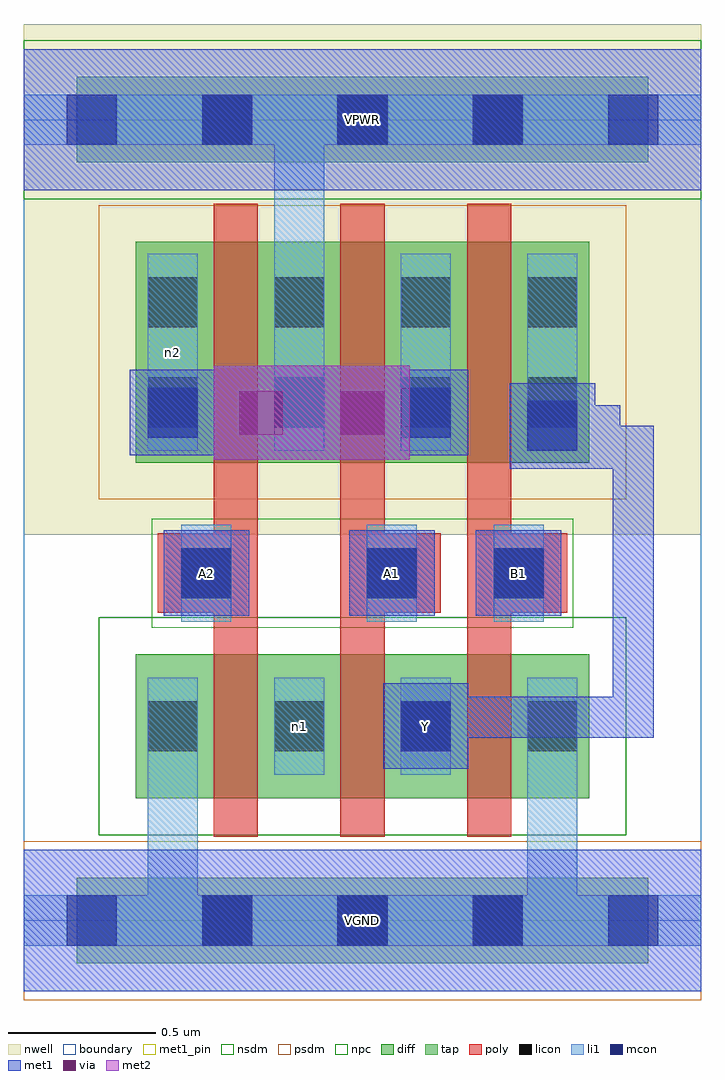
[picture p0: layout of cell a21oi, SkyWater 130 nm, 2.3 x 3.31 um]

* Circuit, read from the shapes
.subckt a21oi A1 A2 B1 VGND VPWR Y n1 n2
XM1 n1 A2 VGND VGND sky130_fd_pr__nfet_01v8 w=0.49 l=0.15
XM2 Y A1 n1 VGND sky130_fd_pr__nfet_01v8 w=0.49 l=0.15
XM3 VGND B1 Y VGND sky130_fd_pr__nfet_01v8 w=0.49 l=0.15
XM4 VPWR A2 n2 VPWR sky130_fd_pr__pfet_01v8 w=0.75 l=0.15
XM5 n2 A1 VPWR VPWR sky130_fd_pr__pfet_01v8 w=0.75 l=0.15
XM6 Y B1 n2 VPWR sky130_fd_pr__pfet_01v8 w=0.75 l=0.15
.ends

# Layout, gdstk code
import gdstk
lib = gdstk.Library(unit=1e-6, precision=1e-09)
def R(c, l, rs):  # rectangles x0, y0, x1, y1
    for r in rs: c.add(gdstk.rectangle(r[:2], r[2:], *l))
def A(c, l, x, y, w, h, nx, ny, dx, dy):  # array of equal rectangles
    R(c, l, [(x+i*dx, y+j*dy, x+i*dx+w, y+j*dy+h) for i in range(nx) for j in range(ny)])
nwell = (64, 20)
diff = (65, 20)
tap = (65, 44)
poly = (66, 20)
licon = (66, 44)
li1 = (67, 20)
mcon = (67, 44)
met1_pin = (68, 16)
met1 = (68, 20)
via = (68, 44)
met2 = (69, 20)
nsdm = (93, 44)
psdm = (94, 20)
npc = (95, 20)
boundary = (235, 4)

a21oi = lib.new_cell('a21oi')
R(a21oi, nwell, [(0,1.31,2.3,3.045)])
R(a21oi, diff, [(0.38,0.415,1.92,0.905), (0.38,1.555,1.92,2.305)])
R(a21oi, tap, [(0.18,-0.145,2.12,0.145), (0.18,2.575,2.12,2.865)])
A(a21oi, poly, 0.645, 0.285, 0.15, 2.15, 3, 1, 0.43, 0)
R(a21oi, poly, [(0.455,1.045,0.785,1.315), (1.085,1.045,1.415,1.315), (1.515,1.045,1.845,1.315)])
A(a21oi, licon, 0.605, -0.085, 0.17, 0.17, 3, 2, 0.46, 2.72)
A(a21oi, licon, 0.42, 0.575, 0.17, 0.17, 4, 2, 0.43, 1.1)
A(a21oi, licon, 0.42, 2.015, 0.17, 0.17, 4, 1, 0.43, 0)
R(a21oi, licon, [(0.535,1.095,0.705,1.265), (1.165,1.095,1.335,1.265), (1.595,1.095,1.765,1.265)])
A(a21oi, li1, 0.42, 0.495, 0.17, 0.33, 4, 1, 0.43, 0)
A(a21oi, li1, 0.42, 1.595, 0.17, 0.67, 4, 1, 0.43, 0)
R(a21oi, li1, [(0,-0.085,2.3,0.085), (0.42,-0.085,0.59,0.825), (1.71,-0.085,1.88,0.825), (0.535,1.015,0.705,1.345), (1.165,1.015,1.335,1.345), (1.595,1.015,1.765,1.345), (0.85,1.595,1.02,2.805), (0,2.635,2.3,2.805)])
A(a21oi, mcon, 0.145, -0.085, 0.17, 0.17, 5, 2, 0.46, 2.72)
R(a21oi, mcon, [(1.28,0.575,1.45,0.745), (0.535,1.095,0.705,1.265), (1.165,1.095,1.335,1.265), (1.595,1.095,1.765,1.265), (1.71,1.595,1.88,1.765), (0.42,1.64,0.59,1.81), (1.28,1.64,1.45,1.81)])
R(a21oi, met1_pin, [(0,-0.24,2.3,0.24), (1.22,0.515,1.51,0.805), (0.475,1.035,0.765,1.325), (1.105,1.035,1.395,1.325), (1.535,1.035,1.825,1.325), (0,2.48,2.3,2.96)])
R(a21oi, met1, [(0,-0.24,2.3,0.24), (1.22,0.515,1.51,0.805), (1.31,0.62,1.45,0.76), (1.31,0.62,2.14,0.76), (2,0.62,2.14,1.68), (0.475,1.035,0.765,1.325), (1.105,1.035,1.395,1.325), (1.535,1.035,1.825,1.325), (1.65,1.535,1.94,1.825), (1.94,1.535,2,1.68), (1.885,1.54,2.14,1.68), (1.885,1.54,2.025,1.75), (0.645,1.565,0.965,1.885), (0.965,1.565,0.99,1.885), (0.99,1.565,1.31,1.885), (0.36,1.58,0.65,1.87), (1.22,1.58,1.51,1.87), (1.725,1.61,2.025,1.75), (0.435,1.655,0.76,1.795), (0.62,1.655,0.875,1.795), (0.875,1.655,0.99,1.795), (0.965,1.655,1.08,1.795), (1.08,1.655,1.335,1.795), (1.195,1.655,1.435,1.795), (0,2.48,2.3,2.96)])
R(a21oi, via, [(0.73,1.65,0.88,1.8), (1.075,1.65,1.225,1.8)])
R(a21oi, met2, [(0.645,1.565,0.965,1.885), (0.965,1.565,0.99,1.885), (0.99,1.565,1.31,1.885), (0.735,1.655,1.22,1.795)])
R(a21oi, nsdm, [(0.255,0.29,2.045,1.03), (0,2.45,2.3,2.99)])
R(a21oi, psdm, [(0,-0.27,2.3,0.27), (0.255,1.43,2.045,2.43)])
R(a21oi, npc, [(0.435,0.995,1.865,1.365)])
R(a21oi, boundary, [(0,0,2.3,2.72)])
a21oi.add(gdstk.Label('n1', (0.935,0.66), layer=67, texttype=5))
a21oi.add(gdstk.Label('n2', (0.505,1.93), layer=67, texttype=5))
a21oi.add(gdstk.Label('A2', (0.62,1.18), layer=68, texttype=5))
a21oi.add(gdstk.Label('A1', (1.25,1.18), layer=68, texttype=5))
a21oi.add(gdstk.Label('B1', (1.68,1.18), layer=68, texttype=5))
a21oi.add(gdstk.Label('Y', (1.365,0.66), layer=68, texttype=5))
a21oi.add(gdstk.Label('VPWR', (1.15,2.72), layer=68, texttype=5))
a21oi.add(gdstk.Label('VGND', (1.15,0), layer=68, texttype=5))
a21oi.add(gdstk.Label('A2', (0.62,1.18), layer=68, texttype=16))
a21oi.add(gdstk.Label('A1', (1.25,1.18), layer=68, texttype=16))
a21oi.add(gdstk.Label('B1', (1.68,1.18), layer=68, texttype=16))
a21oi.add(gdstk.Label('Y', (1.365,0.66), layer=68, texttype=16))
a21oi.add(gdstk.Label('VPWR', (1.15,2.72), layer=68, texttype=16))
a21oi.add(gdstk.Label('VGND', (1.15,0), layer=68, texttype=16))

lib.write_gds('a21oi.gds')
